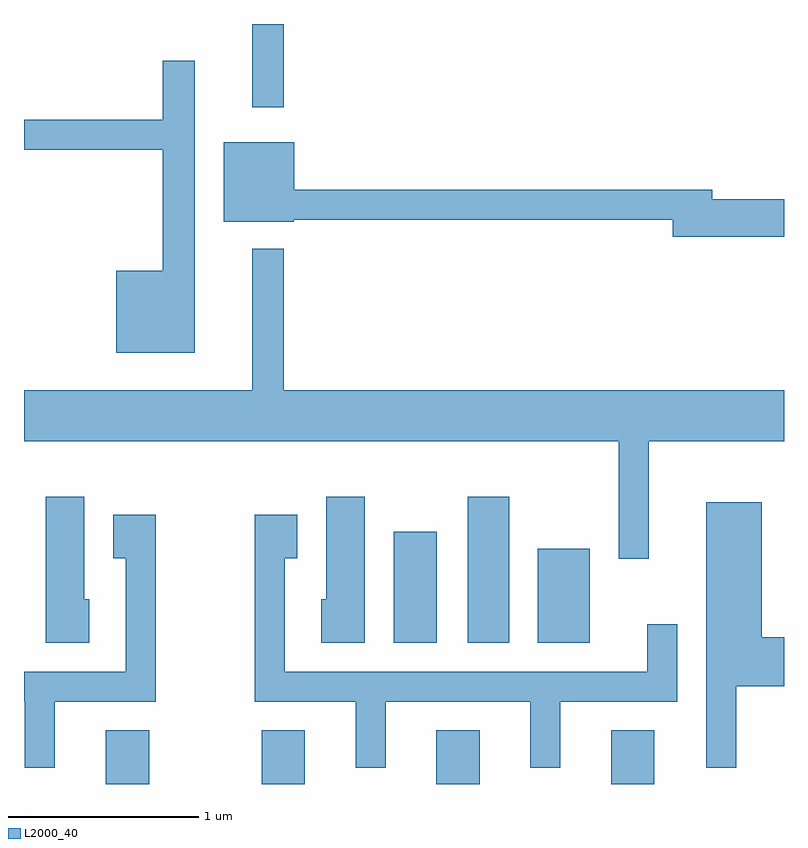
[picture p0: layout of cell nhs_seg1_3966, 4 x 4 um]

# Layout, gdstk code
import gdstk
lib = gdstk.Library(unit=1e-6, precision=1e-09)
def R(c, l, rs):  # rectangles x0, y0, x1, y1
    for r in rs: c.add(gdstk.rectangle(r[:2], r[2:], *l))
def A(c, l, x, y, w, h, nx, ny, dx, dy):  # array of equal rectangles
    R(c, l, [(x+i*dx, y+j*dy, x+i*dx+w, y+j*dy+h) for i in range(nx) for j in range(ny)])
def P(c, l, *ps):  # polygons
    for p in ps: c.add(gdstk.Polygon(p, *l))
L2000_40 = (2000, 40)

nhs_seg1_3966 = lib.new_cell('nhs_seg1_3966')
A(nhs_seg1_3966, L2000_40, 304.861, 957.712, 0.228, 0.282, 3, 1, 0.92, 0)
R(nhs_seg1_3966, L2000_40, [(304.041,957.712,304.269,957.994), (305.556,958.456,305.784,959.039), (305.946,958.456,306.164,959.224), (306.316,958.456,306.589,958.949), (304.811,961.273,304.979,961.712)])
P(nhs_seg1_3966, L2000_40, [(304.509,961.518),(304.341,961.518),(304.341,961.209),(303.611,961.209),(303.611,961.051),(304.341,961.051),(304.341,960.414),(304.096,960.414),(304.096,959.981),(304.509,959.981)],
  [(307.611,960.789),(307.234,960.789),(307.234,960.839),(305.034,960.839),(305.034,961.089),(304.661,961.089),(304.661,960.671),(305.03,960.671),(305.03,960.681),(307.026,960.681),(307.026,960.591),(307.611,960.591)],
  [(306.899,959.516),(307.611,959.516),(307.611,959.784),(304.979,959.784),(304.979,960.528),(304.811,960.528),(304.811,959.784),(303.611,959.784),(303.611,959.516),(306.741,959.516),(306.741,958.898),(306.899,958.898)],
  [(303.954,958.684),(303.929,958.684),(303.929,959.224),(303.726,959.224),(303.726,958.456),(303.954,958.456)],
  [(305.404,959.224),(305.201,959.224),(305.201,958.684),(305.176,958.684),(305.176,958.456),(305.404,958.456)],
  [(307.359,958.226),(307.611,958.226),(307.611,958.484),(307.494,958.484),(307.494,959.194),(307.201,959.194),(307.201,957.798),(307.359,957.798)],
  [(305.514,958.146),(306.276,958.146),(306.276,957.798),(306.434,957.798),(306.434,958.146),(307.049,958.146),(307.049,958.553),(306.891,958.553),(306.891,958.304),(304.984,958.304),(304.984,958.901),(305.049,958.901),(305.049,959.129),(304.826,959.129),(304.826,958.146),(305.356,958.146),(305.356,957.798),(305.514,957.798)],
  [(303.774,958.146),(304.304,958.146),(304.304,959.129),(304.081,959.129),(304.081,958.901),(304.146,958.901),(304.146,958.304),(303.611,958.304),(303.611,958.146),(303.616,958.146),(303.616,957.798),(303.774,957.798)])

lib.write_gds('nhs_seg1_3966.gds')
